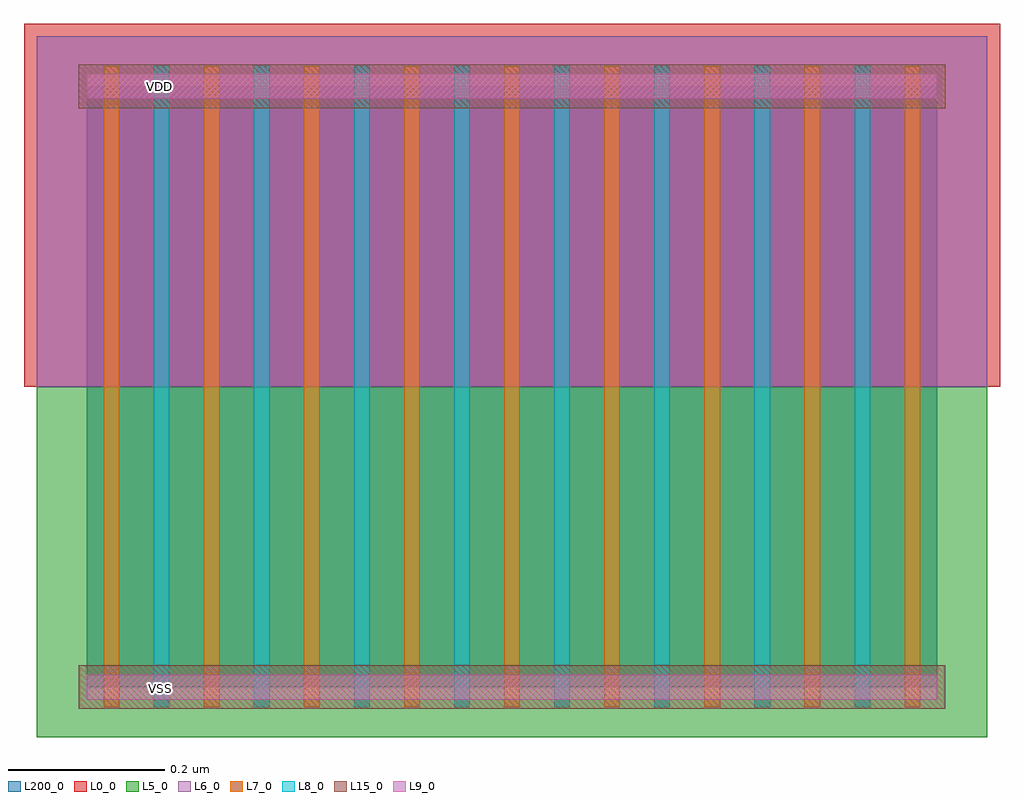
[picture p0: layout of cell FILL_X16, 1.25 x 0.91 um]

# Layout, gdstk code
import gdstk
lib = gdstk.Library(unit=1e-6, precision=1e-09)
def R(c, l, rs):  # rectangles x0, y0, x1, y1
    for r in rs: c.add(gdstk.rectangle(r[:2], r[2:], *l))
def A(c, l, x, y, w, h, nx, ny, dx, dy):  # array of equal rectangles
    R(c, l, [(x+i*dx, y+j*dy, x+i*dx+w, y+j*dy+h) for i in range(nx) for j in range(ny)])
L0_0 = (0, 0)
L5_0 = (5, 0)
L6_0 = (6, 0)
L7_0 = (7, 0)
L8_0 = (8, 0)
L9_0 = (9, 0)
L15_0 = (15, 0)
L200_0 = (200, 0)

fill_x16 = lib.new_cell('FILL_X16')
R(fill_x16, L0_0, [(-0.08,0.384,1.168,0.848)])
R(fill_x16, L5_0, [(-0.064,-0.064,1.152,0.384)])
R(fill_x16, L6_0, [(-0.064,0.384,1.152,0.832)])
A(fill_x16, L7_0, 0.022, -0.026, 0.02, 0.82, 9, 1, 0.128, 0)
A(fill_x16, L8_0, 0.086, -0.026, 0.02, 0.82, 8, 1, 0.128, 0)
R(fill_x16, L9_0, [(0,-0.016,1.088,0.016), (0,0.752,1.088,0.784)])
R(fill_x16, L15_0, [(-0.01,-0.028,1.098,0.028), (-0.01,0.74,1.098,0.796)])
R(fill_x16, L200_0, [(0,0,1.088,0.768)])
fill_x16.add(gdstk.Label('VSS', (0.094,-0.002), layer=15, texttype=20))
fill_x16.add(gdstk.Label('VDD', (0.093,0.768), layer=15, texttype=20))

lib.write_gds('FILL_X16.gds')
